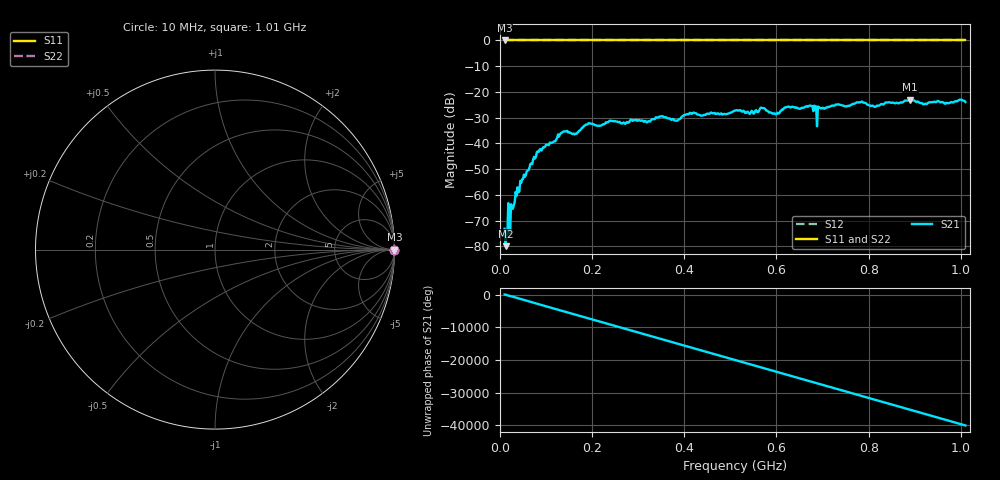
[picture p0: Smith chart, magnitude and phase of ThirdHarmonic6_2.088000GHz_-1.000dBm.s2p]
! 8/17/2025 12:59:48 AM
! C:\ANRITSUVNA\TEMP\TEMP.S2P
! CHANNEL.1
! TR.MEASUREMENT
! RAW.DATA
! RF.CORRECTION.OFF
! AVERAGING.OFF
! IF.BANDWIDTH: 5KHZ
! SWEEPTYPE:  FREQ.SWEEP(Linear)
! Reference Plane Port Info
! PORT:  PORT1  PORT2
! DISTANCE:  0  m  0  m
! TIME:  0  s  0  s
! PHASE.OFFSET:  0  deg.  0  deg.
! LOSS:  0  dB  0  dB
! REF.LOSS:  0  dB  0  dB
! REF.FREQ:  0  Hz  0  Hz
! Power Info
! POWER:  -20  dBm  -20  dBm
! EFF.POWER:  -20  dBm  -20  dBm
! SOURCE.ATTEN:  0  dB  0  dB
! TEST.ATTEN:  0  dB  0  dB
# GHZ S RI R 50.0
! FREQ.GHZ  S11RE  S11IM  S21RE  S21IM  S12RE  S12IM  S22RE  S22IM
!; PortSelection: Port_12
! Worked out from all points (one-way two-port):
!   501 points, 10 MHz to 1.01 GHz, reference 50 ohm
!   highest |S21| = -22.99 dB at 890 MHz (marker M1); lowest = -80.0 dB at 12 MHz (marker M2)
!   lowest |S11| = 0.0 dB at 10 MHz (marker M3)
!   |S11| at or under -10 dB: nowhere
!   |S22| runs from 0.0 to 0.0 dB; largest |S21 - S12| = 1.1
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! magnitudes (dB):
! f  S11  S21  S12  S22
! 10 MHz  0.0  -73.2  0.0  0.0
! 12 MHz  0.0  -80.0  0.0  0.0
! 22 MHz  0.0  -74.8  0.0  0.0
! 26 MHz  0.0  -65.4  0.0  0.0
! 48 MHz  0.0  -54.0  0.0  0.0
! 84 MHz  0.0  -43.3  0.0  0.0
! 136 MHz  0.0  -35.6  0.0  0.0
! 162 MHz  0.0  -36.5  0.0  0.0
! 178 MHz  0.0  -34.0  0.0  0.0
! 344 MHz  0.0  -29.9  0.0  0.0
! 382 MHz  0.0  -31.1  0.0  0.0
! 416 MHz  0.0  -28.6  0.0  0.0
! 510 MHz  0.0  -27.3  0.0  0.0
! 570 MHz  0.0  -26.2  0.0  0.0
! 596 MHz  0.0  -28.4  0.0  0.0
! 622 MHz  0.0  -25.9  0.0  0.0
! 678 MHz  0.0  -25.5  0.0  0.0
! 692 MHz  0.0  -25.8  0.0  0.0
! 732 MHz  0.0  -24.9  0.0  0.0
! 844 MHz  0.0  -24.0  0.0  0.0
! 890 MHz  0.0  -23.0  0.0  0.0
! 1.01 GHz  0.0  -23.9  0.0  0.0
